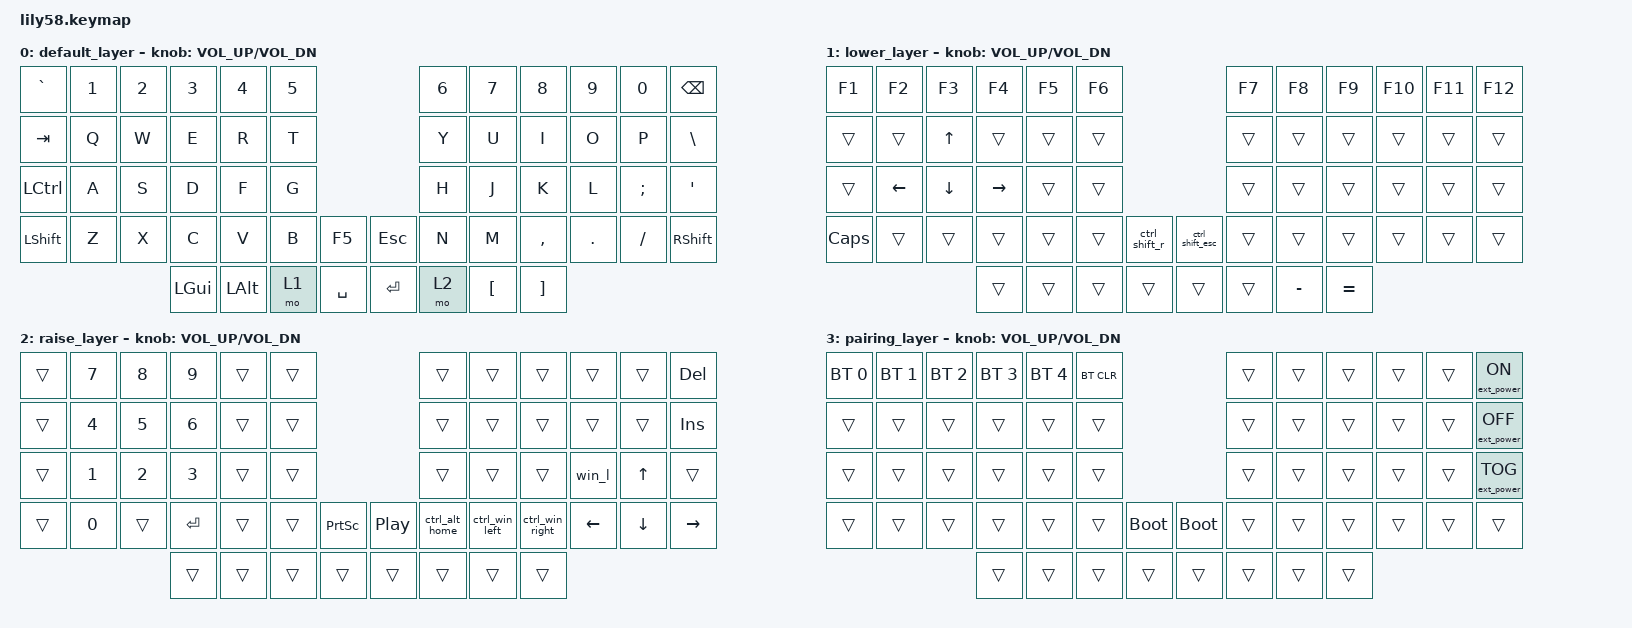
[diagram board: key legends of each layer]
/*
 * Copyright (c) 2020 The ZMK Contributors
 *
 * SPDX-License-Identifier: MIT
 */

#include <behaviors.dtsi>
#include <dt-bindings/zmk/keys.h>
#include <dt-bindings/zmk/bt.h>
#include <dt-bindings/zmk/ext_power.h>


/ {
    macros {
      ctrl_alt_home: ctrl_alt_home {
        compatible = "zmk,behavior-macro";
        #binding-cells = <0>;
        bindings = <&macro_press &kp LCTRL &kp LALT>,
                   <&macro_tap &kp HOME>,
                   <&macro_release &kp LCTRL &kp LALT>;
      };
      ctrl_win_left: ctrl_win_left {
        compatible = "zmk,behavior-macro";
        #binding-cells = <0>;
        bindings = <&macro_press &kp LCTRL &kp LGUI>,
                   <&macro_tap &kp LEFT>,
                   <&macro_release &kp LCTRL &kp LGUI>;
      };
      ctrl_win_right: ctrl_win_right {
        compatible = "zmk,behavior-macro";
        #binding-cells = <0>;
        bindings = <&macro_press &kp LCTRL &kp LGUI>,
                   <&macro_tap &kp RIGHT>,
                   <&macro_release &kp LCTRL &kp LGUI>;
      };
      ctrl_shift_esc: ctrl_shift_esc {
        compatible = "zmk,behavior-macro";
        #binding-cells = <0>;
        bindings = <&macro_press &kp LCTRL &kp LSHIFT>,
                   <&macro_tap &kp ESC>,
                   <&macro_release &kp LCTRL &kp LSHIFT>;
      };
      alt_f4: alt_f4 {
        compatible = "zmk,behavior-macro";
        #binding-cells = <0>;
        bindings = <&macro_press &kp LALT>,
                   <&macro_tap &kp F4>,
                   <&macro_release &kp LALT>;
      };
      ctrl_shift_r: ctrl_shift_r {
        compatible = "zmk,behavior-macro";
        #binding-cells = <0>;
        bindings = <&macro_press &kp LCTRL &kp LSHIFT>,
                   <&macro_tap &kp R>,
                   <&macro_release &kp LCTRL &kp LSHIFT>;
      };
      win_l: win_l {
        compatible = "zmk,behavior-macro";
        #binding-cells = <0>;
        bindings = <&macro_press &kp LGUI>,
                   <&macro_tap &kp L>,
                   <&macro_release &kp LGUI>;
      };
  };
};

/ {
  conditional_layers {
    compatible = "zmk,conditional-layers";
    tri_layer {
      if-layers = <1 2>;
      then-layer = <3>;
    };
  };
};

/ {
    keymap {
        compatible = "zmk,keymap";
        default_layer {
            bindings = <
&kp GRAVE       &kp N1          &kp N2          &kp N3          &kp N4          &kp N5                                          &kp N6          &kp N7          &kp N8          &kp N9          &kp N0          &kp BSPC
&kp TAB         &kp Q           &kp W           &kp E           &kp R           &kp T                                           &kp Y           &kp U           &kp I           &kp O           &kp P           &kp BSLH
&kp LCTRL       &kp A           &kp S           &kp D           &kp F           &kp G                                           &kp H           &kp J           &kp K           &kp L           &kp SEMI        &kp SQT
&kp LSHFT       &kp Z           &kp X           &kp C           &kp V           &kp B           &kp F5          &kp ESC         &kp N           &kp M           &kp COMMA       &kp DOT         &kp FSLH        &kp RSHFT
                                                &kp LGUI        &kp LALT        &mo 1           &kp SPACE       &kp RET         &mo 2           &kp LBKT        &kp RBKT
            >;
            sensor-bindings = <&inc_dec_kp C_VOL_UP C_VOL_DN>;
        };
        lower_layer {
            bindings = <
&kp F1          &kp F2          &kp F3          &kp F4          &kp F5          &kp F6                                          &kp F7          &kp F8          &kp F9          &kp F10         &kp F11        &kp F12
&trans          &trans          &kp UP          &trans          &trans          &trans                                          &trans          &trans          &trans          &trans          &trans         &trans
&trans          &kp LEFT        &kp DOWN        &kp RIGHT       &trans          &trans                                          &trans          &trans          &trans          &trans          &trans         &trans
&kp CAPS        &trans          &trans          &trans          &trans          &trans          &ctrl_shift_r   &ctrl_shift_esc &trans          &trans          &trans          &trans          &trans         &trans
                                                &trans          &trans          &trans          &trans          &trans          &trans          &kp MINUS       &kp EQUAL
            >;
            sensor-bindings = <&inc_dec_kp C_VOL_UP C_VOL_DN>;
        };
        raise_layer {
            bindings = <

&trans          &kp N7          &kp N8          &kp N9          &trans          &trans                                          &trans          &trans          &trans          &trans          &trans          &kp DEL
&trans          &kp N4          &kp N5          &kp N6          &trans          &trans                                          &trans          &trans          &trans          &trans          &trans          &kp INS
&trans          &kp N1          &kp N2          &kp N3          &trans          &trans                                          &trans          &trans          &trans          &win_l          &kp UP          &trans
&trans          &kp N0          &trans          &kp RET         &trans          &trans          &kp PSCRN       &kp C_PP        &ctrl_alt_home  &ctrl_win_left  &ctrl_win_right &kp LEFT        &kp DOWN        &kp RIGHT
                                                &trans          &trans          &trans          &trans          &trans          &trans          &trans          &trans
            >;
            sensor-bindings = <&inc_dec_kp C_VOL_UP C_VOL_DN>;
        };
        pairing_layer {
            bindings = <
&bt BT_SEL 0    &bt BT_SEL 1    &bt BT_SEL 2    &bt BT_SEL 3    &bt BT_SEL 4    &bt BT_CLR                                      &trans          &trans          &trans          &trans          &trans          &ext_power EP_ON
&trans          &trans          &trans          &trans          &trans          &trans                                          &trans          &trans          &trans          &trans          &trans          &ext_power EP_OFF
&trans          &trans          &trans          &trans          &trans          &trans                                          &trans          &trans          &trans          &trans          &trans          &ext_power EP_TOG
&trans          &trans          &trans          &trans          &trans          &trans          &bootloader     &bootloader     &trans          &trans          &trans          &trans          &trans          &trans
                                                &trans          &trans          &trans          &trans          &trans          &trans          &trans          &trans
            >;
            sensor-bindings = <&inc_dec_kp C_VOL_UP C_VOL_DN>;
        };
    };
};
